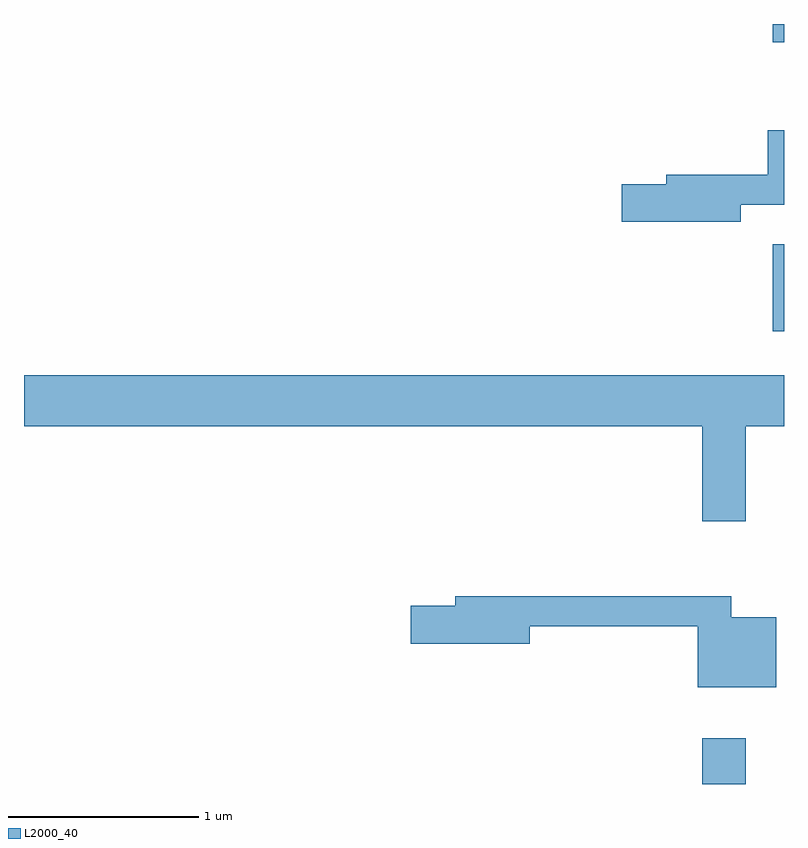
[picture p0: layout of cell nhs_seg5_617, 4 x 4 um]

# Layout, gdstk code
import gdstk
lib = gdstk.Library(unit=1e-6, precision=1e-09)
def R(c, l, rs):  # rectangles x0, y0, x1, y1
    for r in rs: c.add(gdstk.rectangle(r[:2], r[2:], *l))
def P(c, l, *ps):  # polygons
    for p in ps: c.add(gdstk.Polygon(p, *l))
L2000_40 = (2000, 40)

nhs_seg5_617 = lib.new_cell('nhs_seg5_617')
R(nhs_seg5_617, L2000_40, [(207.181,1406.072,207.409,1406.314), (207.551,1408.456,207.611,1408.914), (207.551,1409.976,207.611,1410.072)])
P(nhs_seg5_617, L2000_40, [(207.384,1409.121),(207.611,1409.121),(207.611,1409.514),(207.526,1409.514),(207.526,1409.279),(206.991,1409.279),(206.991,1409.229),(206.756,1409.229),(206.756,1409.031),(207.384,1409.031)],
  [(207.409,1407.956),(207.611,1407.956),(207.611,1408.224),(203.611,1408.224),(203.611,1407.956),(207.181,1407.956),(207.181,1407.456),(207.409,1407.456)],
  [(207.569,1406.949),(207.334,1406.949),(207.334,1407.059),(205.881,1407.059),(205.881,1407.009),(205.646,1407.009),(205.646,1406.811),(206.274,1406.811),(206.274,1406.901),(207.156,1406.901),(207.156,1406.581),(207.569,1406.581)])

lib.write_gds('nhs_seg5_617.gds')
